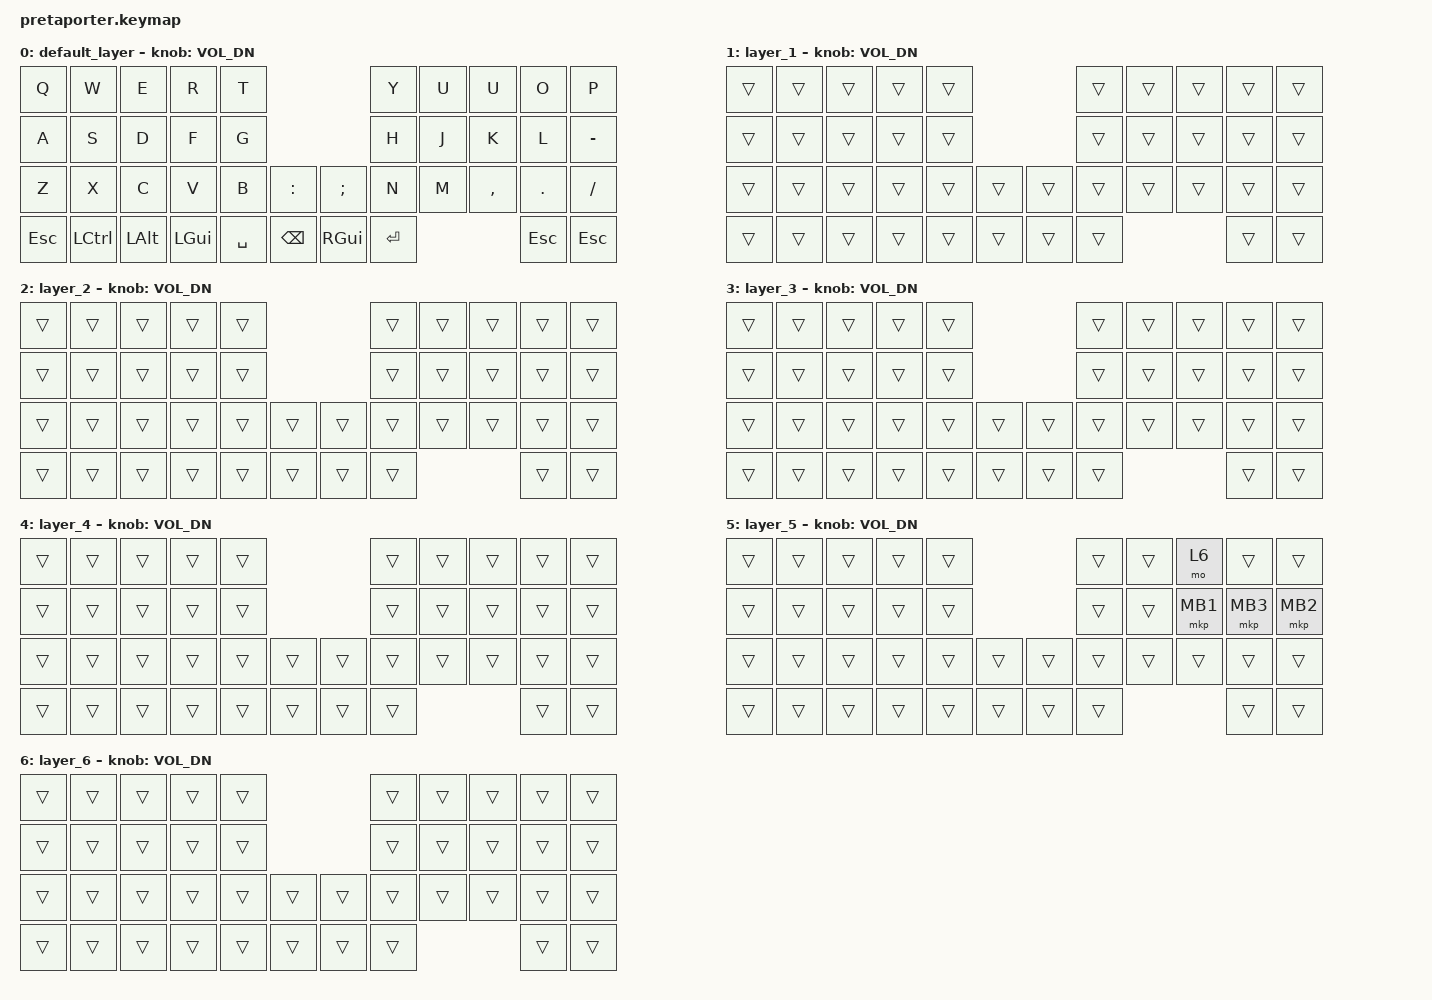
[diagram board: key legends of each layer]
#include <behaviors.dtsi>
#include <dt-bindings/zmk/bt.h>
#include <dt-bindings/zmk/keys.h>
#include <dt-bindings/zmk/pointing.h>

#define ZMK_POINTING_DEFAULT_SCRL_VAL 100
#define MOUSE 5
#define SCROLL 6

&mt {
    flavor = "balanced";
    quick-tap-ms = <0>;
};

/ {
    keymap {
        compatible = "zmk,keymap";

        default_layer {
            bindings = <
&kp Q    &kp W      &kp E     &kp R     &kp T                                   &kp Y      &kp U  &kp U      &kp O    &kp P
&kp A    &kp S      &kp D     &kp F     &kp G                                   &kp H      &kp J  &kp K      &kp L    &kp MINUS
&kp Z    &kp X      &kp C     &kp V     &kp B      &kp COLON          &kp SEMI  &kp N      &kp M  &kp COMMA  &kp DOT  &kp SLASH
&kp ESC  &kp LCTRL  &kp LALT  &kp LGUI  &kp SPACE  &kp BSPC           &kp RGUI  &kp ENTER                    &kp ESC  &kp ESC
            >;
            sensor-bindings = <C_VOL_UP C_VOL_DN>;
        };

        layer_1 {
            bindings = <
&trans  &trans  &trans  &trans  &trans                       &trans  &trans  &trans  &trans  &trans
&trans  &trans  &trans  &trans  &trans                       &trans  &trans  &trans  &trans  &trans
&trans  &trans  &trans  &trans  &trans  &trans      &trans   &trans  &trans  &trans  &trans  &trans
&trans  &trans  &trans  &trans  &trans  &trans      &trans   &trans                  &trans  &trans
            >;
            sensor-bindings = <C_VOL_UP C_VOL_DN>;
        };

        layer_2 {
            bindings = <
&trans  &trans  &trans  &trans  &trans                       &trans  &trans  &trans  &trans  &trans
&trans  &trans  &trans  &trans  &trans                       &trans  &trans  &trans  &trans  &trans
&trans  &trans  &trans  &trans  &trans  &trans      &trans   &trans  &trans  &trans  &trans  &trans
&trans  &trans  &trans  &trans  &trans  &trans      &trans   &trans                  &trans  &trans
            >;
            sensor-bindings = <C_VOL_UP C_VOL_DN>;
        };

        layer_3 {
            bindings = <
&trans  &trans  &trans  &trans  &trans                       &trans  &trans  &trans  &trans  &trans
&trans  &trans  &trans  &trans  &trans                       &trans  &trans  &trans  &trans  &trans
&trans  &trans  &trans  &trans  &trans  &trans      &trans   &trans  &trans  &trans  &trans  &trans
&trans  &trans  &trans  &trans  &trans  &trans      &trans   &trans                  &trans  &trans
            >;
            sensor-bindings = <C_VOL_UP C_VOL_DN>;
        };

        layer_4 {
            bindings = <
&trans  &trans  &trans  &trans  &trans                       &trans  &trans  &trans  &trans  &trans
&trans  &trans  &trans  &trans  &trans                       &trans  &trans  &trans  &trans  &trans
&trans  &trans  &trans  &trans  &trans  &trans      &trans   &trans  &trans  &trans  &trans  &trans
&trans  &trans  &trans  &trans  &trans  &trans      &trans   &trans                  &trans  &trans
            >;
            sensor-bindings = <C_VOL_UP C_VOL_DN>;
        };

        layer_5 {
            bindings = <
&trans  &trans  &trans  &trans  &trans                      &trans  &trans  &mo 6     &trans    &trans
&trans  &trans  &trans  &trans  &trans                      &trans  &trans  &mkp MB1  &mkp MB3  &mkp MB2
&trans  &trans  &trans  &trans  &trans  &trans      &trans  &trans  &trans  &trans    &trans    &trans
&trans  &trans  &trans  &trans  &trans  &trans      &trans  &trans                    &trans    &trans
            >;
            sensor-bindings = <C_VOL_UP C_VOL_DN>;
        };

        layer_6 {
            bindings = <
&trans  &trans  &trans  &trans  &trans                       &trans  &trans  &trans  &trans  &trans
&trans  &trans  &trans  &trans  &trans                       &trans  &trans  &trans  &trans  &trans
&trans  &trans  &trans  &trans  &trans  &trans      &trans   &trans  &trans  &trans  &trans  &trans
&trans  &trans  &trans  &trans  &trans  &trans      &trans   &trans                  &trans  &trans
            >;
            sensor-bindings = <C_VOL_UP C_VOL_DN>;
        };
    };
};
